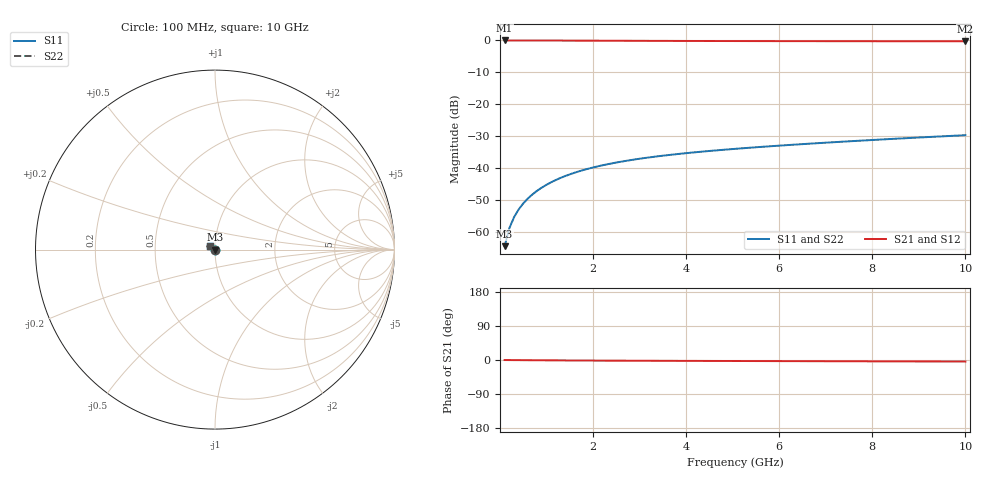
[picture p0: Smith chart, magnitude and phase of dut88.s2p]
! Touchstone file exported from HFSS 2024.1.0
!  File:  C:/UserFiles/LocalFiles/RDL_TSV_Batchsim/temp_TSV1_88_1779375847.aedt
!  Generated:  11:09:39 PM May 21, 2026
!  Design:  TSV1
!  Project:  temp_TSV1_88_1779375847
!  Setup:  Setup1
!  Solution:  Sweep
! Variables:
!  dtsv = 7.28um
!  hbump = 3um
!  htsv = 56.7um
!  lrdl = 252.1521522um
!  p = 40
!  p1 = 58.52um
!  t = 500um
!  trdl = 3um
!  wrdl = 24.89489489um
# GHz S MA R 50.000000
! Terminal data exported
! Port[1] = TSV22_T1
! Port[2] = TSV22_T2
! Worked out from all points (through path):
!   100 points, 100 MHz to 10 GHz, reference 50 ohm
!   highest |S21| = 0.00 dB at 100 MHz (marker M1); lowest = -0.3 dB at 10 GHz (marker M2)
!   lowest |S11| = -64.3 dB at 100 MHz (marker M3), VSWR 1.00, Z = 50 - j0.0576 ohm
!   |S11| at or under -10 dB: start of sweep to end of sweep
!   |S22| runs from -64.3 to -29.6 dB; largest |S21 - S12| = 8.1e-15
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0.1  0.0006083 -71.2  0.9997 -0.1  0.9997 -0.1  0.0006083 -71.2
! Gamma 0 0 0 0
! Port Impedance 50 0 50 0
0.2  0.001154 -84.1  0.9997 -0.2  0.9997 -0.2  0.001154 -84.1
0.3  0.001711 -90.4  0.9995 -0.3  0.9995 -0.3  0.001711 -90.4
0.4  0.002271 -94.8  0.9993 -0.4  0.9993 -0.4  0.002271 -94.8
0.5  0.002829 -98.4  0.9991 -0.4  0.9991 -0.4  0.002829 -98.4
0.6  0.003384 -101.7  0.9988 -0.5  0.9988 -0.5  0.003384 -101.7
0.7  0.003934 -104.7  0.9985 -0.6  0.9985 -0.6  0.003934 -104.7
0.8  0.004479 -107.5  0.9981 -0.7  0.9981 -0.7  0.004479 -107.5
0.9  0.005017 -110.3  0.9977 -0.8  0.9977 -0.8  0.005017 -110.3
1.1  0.00607 -115.4  0.9968 -0.9  0.9968 -0.9  0.00607 -115.4
1.4  0.007582 -122.7  0.9953 -1.1  0.9953 -1.1  0.007582 -122.7
1.6  0.008539 -127.3  0.9942 -1.3  0.9942 -1.3  0.008539 -127.3
1.8  0.009456 -131.7  0.9931 -1.4  0.9931 -1.4  0.009456 -131.7
2.1  0.01075 -138.0  0.9913 -1.5  0.9913 -1.5  0.01075 -138.0
2.5  0.01235 -145.8  0.9891 -1.7  0.9891 -1.7  0.01235 -145.8
2.9  0.01381 -152.9  0.9869 -1.9  0.9869 -1.9  0.01381 -152.9
3.4  0.01547 -161.1  0.9845 -2.1  0.9845 -2.1  0.01547 -161.1
4.2  0.01787 -172.4  0.9812 -2.4  0.9812 -2.4  0.01787 -172.4
5.1  0.02034 176.8  0.9783 -2.7  0.9783 -2.7  0.02034 176.8
6.7  0.02447 161.8  0.9748 -3.1  0.9748 -3.1  0.02446 161.8
8.4  0.02882 149.9  0.9723 -3.6  0.9723 -3.6  0.02882 149.9
10  0.03302 141.3  0.9707 -4.1  0.9707 -4.1  0.03302 141.3
